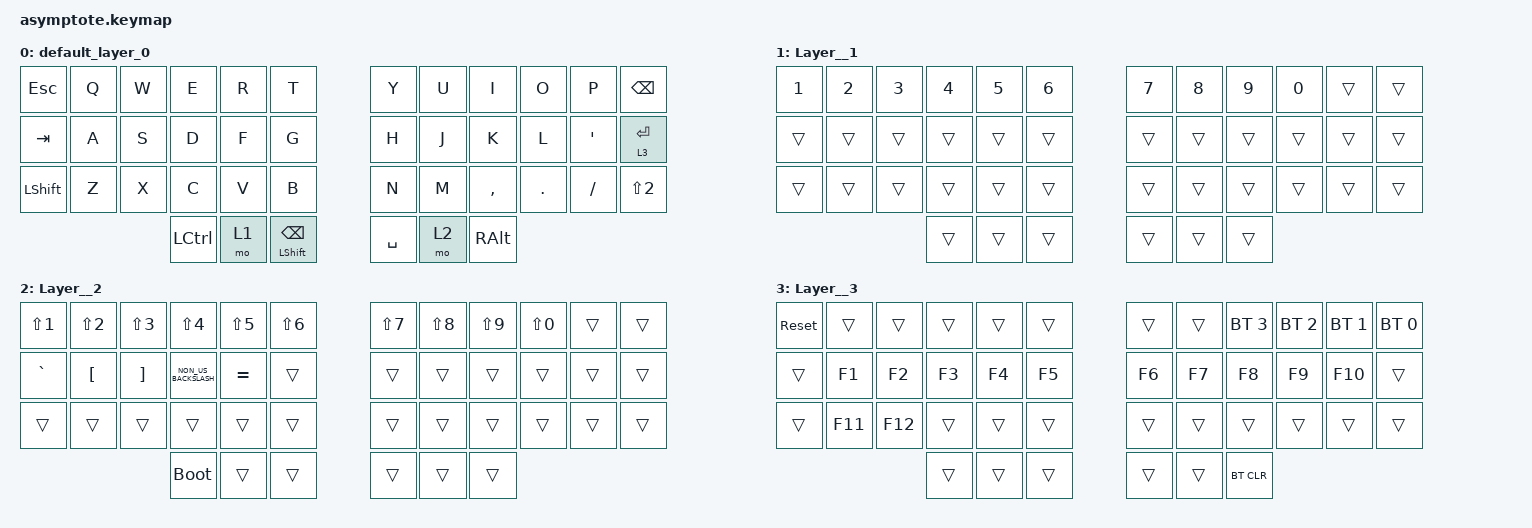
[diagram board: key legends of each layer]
/*
 * Copyright (c) 2020 The ZMK Contributors
 *
 * SPDX-License-Identifier: MIT
 */

#include <behaviors.dtsi>
#include <dt-bindings/zmk/bt.h>
#include <dt-bindings/zmk/keys.h>

&mt { tapping-term-ms = <200>; };

&lt { quick-tap-ms = <400>; };

/ {
    combos {
        compatible = "zmk,combos";

        enter {
            bindings = <&kp ENTER>;
            key-positions = <21 20 19>;
            timeout-ms = <30>;
        };

        Tab {
            bindings = <&kp TAB>;
            key-positions = <14 15 16>;
            timeout-ms = <30>;
        };

        WIN {
            bindings = <&kp LEFT_GUI>;
            key-positions = <16 19>;
            timeout-ms = <30>;
        };

        Dash {
            bindings = <&kp MINUS>;
            key-positions = <19 20>;
            timeout-ms = <30>;
        };

        Question {
            bindings = <&kp QUESTION>;
            key-positions = <20 21>;
            timeout-ms = <30>;
        };

        Semi {
            bindings = <&kp SEMICOLON>;
            key-positions = <21 22>;
            timeout-ms = <30>;
        };

        copy {
            bindings = <&kp LC(C)>;
            key-positions = <13 14 15 16>;
            timeout-ms = <30>;
        };

        paste {
            bindings = <&kp LC(V)>;
            key-positions = <1 2 3 4>;
            timeout-ms = <30>;
        };
    };

    keymap {
        compatible = "zmk,keymap";

        default_layer_0 {
            bindings = <
&kp ESC         &kp Q  &kp W  &kp E      &kp R  &kp T                       &kp Y      &kp U  &kp I          &kp O    &kp P             &kp BSPC
&kp TAB         &kp A  &kp S  &kp D      &kp F  &kp G                       &kp H      &kp J  &kp K          &kp L    &kp SINGLE_QUOTE  &lt 3 RET
&kp LEFT_SHIFT  &kp Z  &kp X  &kp C      &kp V  &kp B                       &kp N      &kp M  &kp COMMA      &kp DOT  &kp SLASH         &kp LS(NUMBER_2)
                              &kp LCTRL  &mo 1  &mt LEFT_SHIFT BACKSPACE    &kp SPACE  &mo 2  &kp RIGHT_ALT
            >;
        };

        Layer__1 {
            bindings = <
&kp NUMBER_1  &kp NUMBER_2  &kp NUMBER_3  &kp NUMBER_4  &kp NUMBER_5  &kp NUMBER_6    &kp N7  &kp N8  &kp NUMBER_9  &kp NUMBER_0  &trans  &trans
&trans        &trans        &trans        &trans        &trans        &trans          &trans  &trans  &trans        &trans        &trans  &trans
&trans        &trans        &trans        &trans        &trans        &trans          &trans  &trans  &trans        &trans        &trans  &trans
                                          &trans        &trans        &trans          &trans  &trans  &trans
            >;
        };

        Layer__2 {
            bindings = <
&kp LS(NUMBER_1)  &kp LS(NUMBER_2)  &kp LS(NUMBER_3)   &kp LS(NUMBER_4)      &kp LS(N5)  &kp LS(NUMBER_6)    &kp LS(N7)  &kp LS(N8)  &kp LS(N9)  &kp LS(N0)  &trans  &trans
&kp GRAVE         &kp LEFT_BRACKET  &kp RIGHT_BRACKET  &kp NON_US_BACKSLASH  &kp EQUAL   &trans              &trans      &trans      &trans      &trans      &trans  &trans
&trans            &trans            &trans             &trans                &trans      &trans              &trans      &trans      &trans      &trans      &trans  &trans
                                                       &bootloader           &trans      &trans              &trans      &trans      &trans
            >;
        };

        Layer__3 {
            bindings = <
&sys_reset  &trans   &trans   &trans  &trans  &trans    &trans  &trans  &bt BT_SEL 3  &bt BT_SEL 2  &bt BT_SEL 1  &bt BT_SEL 0
&trans      &kp F1   &kp F2   &kp F3  &kp F4  &kp F5    &kp F6  &kp F7  &kp F8        &kp F9        &kp F10       &trans
&trans      &kp F11  &kp F12  &trans  &trans  &trans    &trans  &trans  &trans        &trans        &trans        &trans
                              &trans  &trans  &trans    &trans  &trans  &bt BT_CLR
            >;
        };
    };
};
